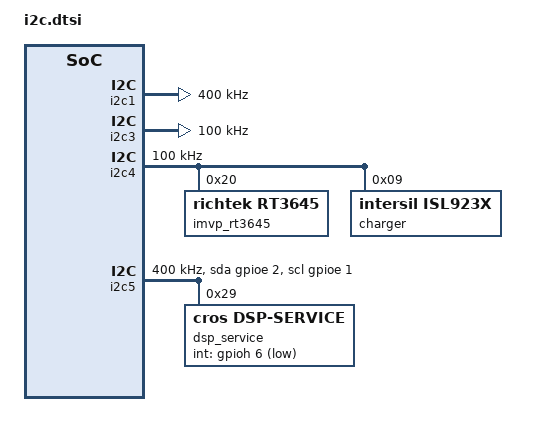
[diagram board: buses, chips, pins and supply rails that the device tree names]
/* Copyright 2026 The ChromiumOS Authors
 * Use of this source code is governed by a BSD-style license that can be
 * found in the LICENSE file.
 */

/ {
	named-i2c-ports {
		compatible = "named-i2c-ports";

		i2c_named_i2c_port_pd1: named_i2c_port_pd_aic1 {
			i2c-port = <&i2c1>;
			enum-names = "I2C_PORT_PD";
		};
		i2c_named_i2c_port_pd2: named_i2c_port_pd_aic2 {
			i2c-port = <&i2c3>;
			enum-names = "I2C_PORT_PD_SPARE";
		};
		i2c_named_i2c_port_charger: named_i2c_port_charger {
			i2c-port = <&i2c4>;
			enum-names = "I2C_PORT_BATTERY",
				"I2C_PORT_CHARGER";
		};
		i2c_named_i2c_port_ish: named_i2c_port_ish {
			i2c-port = <&i2c5>;
			enum-names = "I2C_PORT_ISH";
		};
	};
};

&i2c1 {
	label = "I2C_PORT_PD";
	clock-frequency = <I2C_BITRATE_FAST>;
	pinctrl-0 = <&i2c1_clk_gpc1_default
		&i2c1_data_gpc2_default>;
	pinctrl-names = "default";
	status = "okay";
};

&i2c3 {
	/* Port not used. All PDCs on bus i2c_port_pd1 */
	label = "I2C_PORT_PD_SPARE";
	clock-frequency = <I2C_BITRATE_STANDARD>;
	pinctrl-0 = <&i2c3_clk_gph1_default
		&i2c3_data_gph2_default>;
	pinctrl-names = "default";
	status = "okay";
};

&i2c4 {
	label = "I2C_PORT_CHARGER";
	clock-frequency = <I2C_BITRATE_STANDARD>;
	pinctrl-0 = <&i2c4_clk_gpe0_default
		&i2c4_data_gpe7_default>;
	pinctrl-names = "default";
	status = "okay";

	imvp_rt3645: richtek-imvp@20 {
		compatible = "richtek,rt3645";
		status = "okay";
		reg = <0x20>;
	};

	charger: isl9238@9 {
		compatible = "intersil,isl923x";
		status = "okay";
		reg = <0x9>;
	};
};

&i2c5 {
	label = "I2C_PORT_ISH";
	scl-gpios = < &gpioe 1 0x0 >;
	sda-gpios = < &gpioe 2 0x0 >;
	clock-frequency = <I2C_BITRATE_FAST>;
	pinctrl-0 = <&i2c5_clk_gpe1_default
		&i2c5_data_gpe2_default>;
	pinctrl-names = "default";
	status = "okay";

	dsp_service: dsp-service@29 {
		compatible = "cros,dsp-service";
		reg = <0x29>;
		int-gpios = <&gpioh 6 (GPIO_ACTIVE_LOW |
				GPIO_VOLTAGE_1P8 |
				GPIO_OPEN_DRAIN)>;
	};
};
